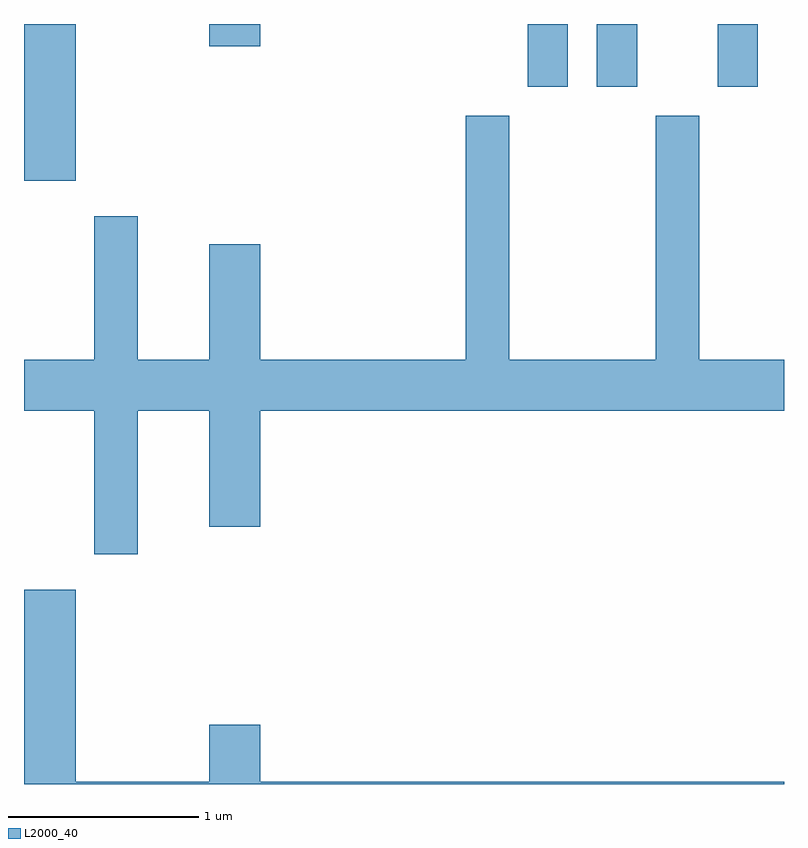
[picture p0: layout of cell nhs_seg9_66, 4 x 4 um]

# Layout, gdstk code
import gdstk
lib = gdstk.Library(unit=1e-6, precision=1e-09)
def R(c, l, rs):  # rectangles x0, y0, x1, y1
    for r in rs: c.add(gdstk.rectangle(r[:2], r[2:], *l))
def P(c, l, *ps):  # polygons
    for p in ps: c.add(gdstk.Polygon(p, *l))
L2000_40 = (2000, 40)

nhs_seg9_66 = lib.new_cell('nhs_seg9_66')
R(nhs_seg9_66, L2000_40, [(185.611,2079.606,185.884,2080.432), (188.261,2080.101,188.474,2080.432), (188.626,2080.101,188.839,2080.432), (189.261,2080.101,189.474,2080.432), (186.586,2080.316,186.854,2080.432)])
P(nhs_seg9_66, L2000_40, [(186.209,2078.396),(186.586,2078.396),(186.586,2077.786),(186.854,2077.786),(186.854,2078.396),(189.611,2078.396),(189.611,2078.664),(189.164,2078.664),(189.164,2079.949),(188.936,2079.949),(188.936,2078.664),(188.164,2078.664),(188.164,2079.949),(187.936,2079.949),(187.936,2078.664),(186.854,2078.664),(186.854,2079.274),(186.586,2079.274),(186.586,2078.664),(186.209,2078.664),(186.209,2079.419),(185.981,2079.419),(185.981,2078.664),(185.611,2078.664),(185.611,2078.396),(185.981,2078.396),(185.981,2077.641),(186.209,2077.641)],
  [(189.611,2076.444),(186.854,2076.444),(186.854,2076.744),(186.586,2076.744),(186.586,2076.444),(185.884,2076.444),(185.884,2077.454),(185.611,2077.454),(185.611,2076.432),(189.611,2076.432)])

lib.write_gds('nhs_seg9_66.gds')
